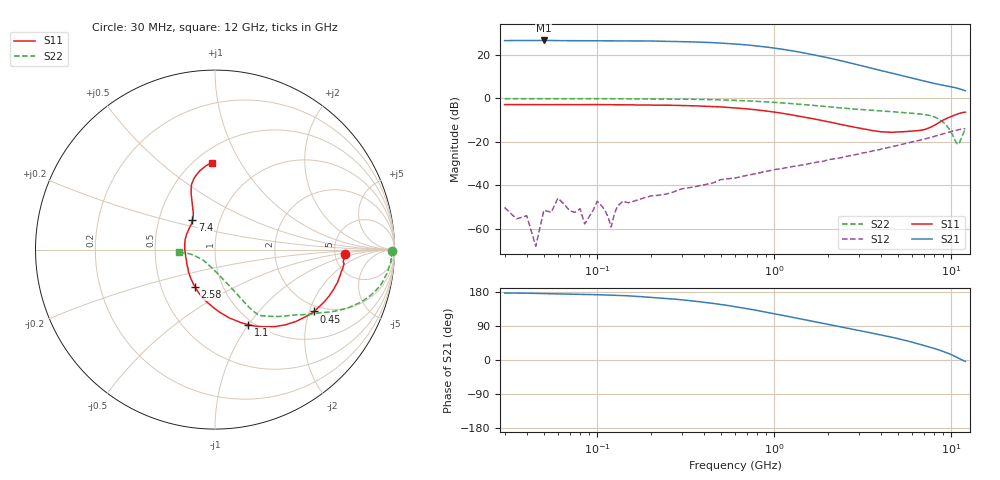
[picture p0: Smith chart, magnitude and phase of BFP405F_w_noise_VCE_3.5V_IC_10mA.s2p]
! Infineon Technologies  Discrete & RF Semiconductors
! BFP405F
! VCE =  3.5 V,  IC =  10 mA
! Common Emitter S-Parameters:  Nov 2015
# GHz  S  MA  R  50
!  f  S11  S21  S12  S22
! GHz  MAG  ANG  MAG  ANG  MAG  ANG  MAG  ANG
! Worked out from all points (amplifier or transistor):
!   239 points, 30 MHz to 12 GHz, reference 50 ohm
!   highest |S21| = 26.6 dB at 50 MHz (marker M1)
!   |S21| within 3 dB of that: start of sweep to 898.3 MHz
!   unconditionally stable (mu >= 1): 44.91601 MHz to 45.12631 MHz; 2.326 GHz to end of sweep
!   at 300 MHz: K = 0.23, MSG = 33.9 dB, |S12| = -41.6 dB
!   at 1.88 GHz: K = 0.88, MSG = 24.1 dB, |S12| = -28.9 dB
!   at 12 GHz: K = 1.39, MAG = 5.0 dB, |S12| = -13.9 dB
!   lowest NFmin = 1.67 dB at 450 MHz
!   S11 on the Smith chart (normalised r, x): 30 MHz: 6.15, -0.58; 450 MHz: 1.80, -2.16; 1.1 GHz: 0.94, -1.00; 2.58 GHz: 0.74, -0.32; 7.4 GHz: 0.74, +0.25; 12 GHz: 0.60, +0.76
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0.03  0.7225 -1.8  21.35 176.7  0.0031 19.7  0.9847 -0.6
0.04  0.7179 -2.5  21.34 176.3  0.002 121.7  0.9827 -0.8
0.045  0.7159 -3.1  21.42 175.8  0.0004 -85.1  0.9818 -1.1
0.05  0.714 -3.8  21.49 175.3  0.0027 -65.6  0.981 -1.4
0.06  0.7204 -4.3  21.27 174.8  0.0051 48.2  0.9835 -1.6
0.085  0.7205 -5.9  21.16 173.1  0.0013 68.4  0.9837 -2.6
0.1  0.7213 -7.2  21.07 172.4  0.0043 82.4  0.9828 -3.1
0.12  0.7184 -9.0  21.03 171.2  0.0011 91.4  0.9822 -3.5
0.145  0.7131 -10.8  21.03 169.7  0.0041 104.0  0.9805 -4.3
0.24  0.6993 -17.7  20.57 162.8  0.0062 76.1  0.9709 -7.3
0.32  0.6827 -23.2  20.09 157.5  0.0087 79.3  0.9577 -9.5
0.45  0.6507 -32.0  19.14 149.4  0.0114 75.9  0.9344 -13.0
0.6  0.6047 -41.3  17.82 140.7  0.0148 72.2  0.9012 -16.6
0.82  0.5367 -53.1  15.85 129.8  0.0193 73.9  0.8504 -20.7
1.1  0.4574 -66.1  13.57 118.4  0.0242 70.4  0.7888 -24.9
1.64  0.3432 -87.1  10.2 102.3  0.0327 66.9  0.6937 -30.4
2.1  0.2797 -103.3  8.253 92.2  0.0396 66.4  0.6339 -34.7
2.58  0.2349 -118.3  6.782 84.0  0.0468 64.5  0.5869 -38.3
4.5  0.1672 -170.6  3.886 61.2  0.0757 59.9  0.4991 -48.4
7.4  0.2064 127.7  2.373 35.1  0.1223 49.6  0.4102 -57.8
10.8  0.435 102.9  1.716 6.6  0.1878 31.2  0.0891 -121.0
12  0.4825 92.3  1.498 -3.6  0.2024 24.1  0.1998 -175.7
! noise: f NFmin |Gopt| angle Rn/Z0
0.45  1.67  0.21  5  0.32
0.9  1.68  0.19  9  0.33
1.5  1.74  0.17  15  0.25
1.9  1.78  0.16  21  0.29
2.4  1.91  0.14  28  0.36
3  1.99  0.12  42  0.35
3.5  2.04  0.1  48  0.34
4.5  2.21  0.08  46  0.2
5.5  2.42  0.04  37  0.06
